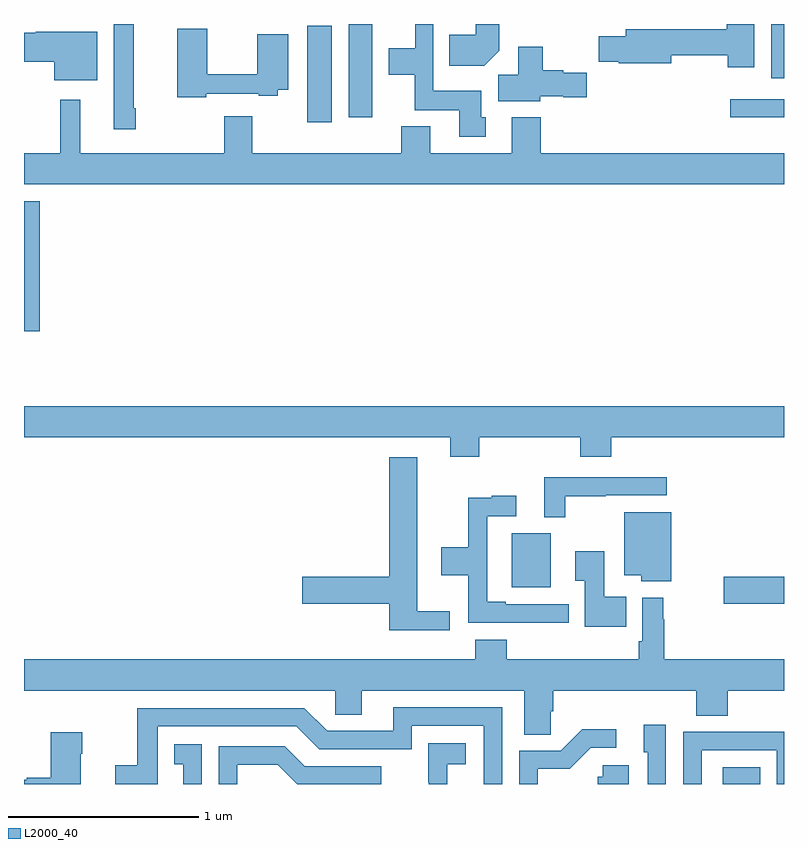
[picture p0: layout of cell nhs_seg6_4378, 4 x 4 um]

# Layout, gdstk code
import gdstk
lib = gdstk.Library(unit=1e-6, precision=1e-09)
def R(c, l, rs):  # rectangles x0, y0, x1, y1
    for r in rs: c.add(gdstk.rectangle(r[:2], r[2:], *l))
def P(c, l, *ps):  # polygons
    for p in ps: c.add(gdstk.Polygon(p, *l))
L2000_40 = (2000, 40)

nhs_seg6_4378 = lib.new_cell('nhs_seg6_4378')
R(nhs_seg6_4378, L2000_40, [(372.677,957.5,372.874,957.589), (372.684,958.45,373,958.592), (371.567,958.535,371.773,958.819), (369,959.883,369.083,960.567), (370.49,960.984,370.621,961.492), (370.709,961.008,370.834,961.5), (372.717,961.008,373,961.104), (372.932,961.214,373,961.5)])
P(nhs_seg6_4378, L2000_40, [(369.587,961.057),(369.577,961.057),(369.577,961.5),(369.473,961.5),(369.473,960.945),(369.587,960.945)],
  [(372.844,961.5),(372.698,961.5),(372.698,961.472),(372.167,961.472),(372.167,961.436),(372.025,961.436),(372.025,961.302),(372.13,961.302),(372.13,961.294),(372.406,961.294),(372.406,961.336),(372.703,961.336),(372.703,961.272),(372.844,961.272)],
  [(371.5,961.358),(371.5,961.5),(371.378,961.5),(371.378,961.444),(371.239,961.444),(371.239,961.28),(371.422,961.28)],
  [(371.431,961.008),(371.407,961.008),(371.407,961.15),(371.154,961.15),(371.154,961.5),(371.058,961.5),(371.058,961.372),(370.919,961.372),(370.919,961.232),(371.056,961.232),(371.056,961.046),(371.291,961.046),(371.291,960.906),(371.431,960.906)],
  [(369.96,961.134),(370.235,961.134),(370.235,961.122),(370.335,961.122),(370.335,961.154),(370.39,961.154),(370.39,961.447),(370.228,961.447),(370.228,961.235),(369.964,961.235),(369.964,961.474),(369.806,961.474),(369.806,961.114),(369.96,961.114)],
  [(369.385,961.459),(369.062,961.459),(369.062,961.453),(369,961.453),(369,961.301),(369.158,961.301),(369.158,961.205),(369.385,961.205)],
  [(371.718,961.121),(371.838,961.121),(371.838,961.114),(371.963,961.114),(371.963,961.244),(371.838,961.244),(371.838,961.256),(371.73,961.256),(371.73,961.381),(371.6,961.381),(371.6,961.232),(371.495,961.232),(371.495,961.094),(371.718,961.094)],
  [(373,960.82),(371.72,960.82),(371.72,961.009),(371.567,961.009),(371.567,960.82),(371.137,960.82),(371.137,960.961),(370.985,960.961),(370.985,960.82),(370.201,960.82),(370.201,961.015),(370.054,961.015),(370.054,960.82),(369.295,960.82),(369.295,961.102),(369.191,961.102),(369.191,960.82),(369,960.82),(369,960.656),(373,960.656)],
  [(371.396,959.324),(371.927,959.324),(371.927,959.222),(372.092,959.222),(372.092,959.324),(373,959.324),(373,959.488),(369,959.488),(369,959.324),(371.243,959.324),(371.243,959.222),(371.396,959.222)],
  [(371.242,958.409),(371.071,958.409),(371.071,959.221),(370.922,959.221),(370.922,958.592),(370.464,958.592),(370.464,958.45),(370.922,958.45),(370.922,958.31),(371.242,958.31)],
  [(371.848,959.014),(372.062,959.014),(372.062,959.019),(372.382,959.019),(372.382,959.115),(371.738,959.115),(371.738,958.904),(371.848,958.904)],
  [(371.866,958.446),(371.536,958.446),(371.536,958.459),(371.439,958.459),(371.439,958.908),(371.59,958.908),(371.59,959.017),(371.462,959.017),(371.462,959.006),(371.338,959.006),(371.338,958.746),(371.196,958.746),(371.196,958.598),(371.338,958.598),(371.338,958.35),(371.623,958.35),(371.623,958.349),(371.866,958.349)],
  [(372.406,958.93),(372.158,958.93),(372.158,958.598),(372.248,958.598),(372.248,958.568),(372.406,958.568)],
  [(372.17,958.486),(372.055,958.486),(372.055,958.726),(371.901,958.726),(371.901,958.57),(371.951,958.57),(371.951,958.328),(372.17,958.328)],
  [(371.772,957.883),(371.786,957.883),(371.786,957.992),(372.539,957.992),(372.539,957.859),(372.704,957.859),(372.704,957.992),(373,957.992),(373,958.156),(372.371,958.156),(372.371,958.367),(372.364,958.367),(372.364,958.48),(372.255,958.48),(372.255,958.252),(372.235,958.252),(372.235,958.156),(371.54,958.156),(371.54,958.258),(371.375,958.258),(371.375,958.156),(369,958.156),(369,957.992),(370.638,957.992),(370.638,957.865),(370.777,957.865),(370.777,957.992),(371.633,957.992),(371.633,957.76),(371.772,957.76)],
  [(369.705,957.804),(370.434,957.804),(370.554,957.684),(371.04,957.684),(371.04,957.807),(371.421,957.807),(371.421,957.5),(371.517,957.5),(371.517,957.903),(370.943,957.903),(370.943,957.78),(370.596,957.78),(370.476,957.9),(369.597,957.9),(369.597,957.598),(369.479,957.598),(369.479,957.5),(369.705,957.5)],
  [(372.378,957.811),(372.263,957.811),(372.263,957.666),(372.282,957.666),(372.282,957.5),(372.378,957.5)],
  [(371.703,957.579),(371.872,957.579),(371.983,957.69),(372.118,957.69),(372.118,957.788),(371.939,957.788),(371.826,957.675),(371.607,957.675),(371.607,957.5),(371.703,957.5)],
  [(372.567,957.678),(372.963,957.678),(372.963,957.5),(373,957.5),(373,957.776),(372.787,957.776),(372.787,957.774),(372.471,957.774),(372.471,957.5),(372.567,957.5)],
  [(369.298,957.659),(369.306,957.659),(369.306,957.772),(369.14,957.772),(369.14,957.533),(369.014,957.533),(369.014,957.523),(369,957.523),(369,957.5),(369.298,957.5)],
  [(371.228,957.605),(371.326,957.605),(371.326,957.715),(371.128,957.715),(371.128,957.509),(371.129,957.509),(371.129,957.5),(371.228,957.5)],
  [(369.936,957.709),(369.79,957.709),(369.79,957.603),(369.839,957.603),(369.839,957.5),(369.936,957.5)],
  [(370.122,957.602),(370.336,957.602),(370.438,957.5),(370.881,957.5),(370.881,957.594),(370.477,957.594),(370.372,957.699),(370.026,957.699),(370.026,957.5),(370.122,957.5)],
  [(372.184,957.598),(372.045,957.598),(372.045,957.537),(372.019,957.537),(372.019,957.5),(372.184,957.5)])

lib.write_gds('nhs_seg6_4378.gds')
